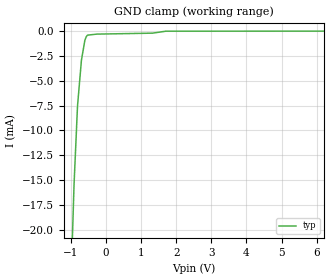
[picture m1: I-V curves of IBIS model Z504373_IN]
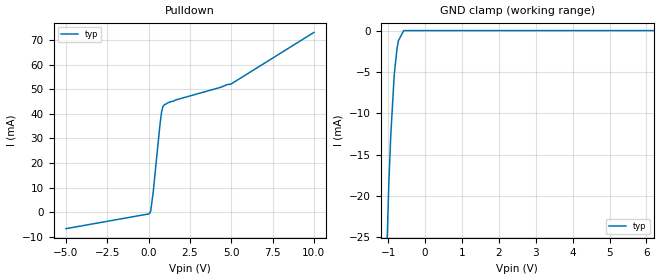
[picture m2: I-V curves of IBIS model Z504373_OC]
| YOU ARE ONLY AUTHORIZED TO USE THIS SOFTWARE
| ACCORDING TO LICENSOR'S LICENSE RESTRICTIONS.
[IBIS Ver] 3.1
[File Name] sn54ls12j.ibs
[File Rev] 2.0
[Source] Measured and created by ICX Technology
[Date] Friday 7/14/00 9:08:13 AM
[Copyright]
| (C) COPYRIGHT 1993-2000
| MENTOR GRAPHICS CORPORATION
| ICX STANDARD LIBRARY, ICX PROJECT MODELING,
| ICX CUSTOM MODELING, ICX VENDOR MODEL
| ALL RIGHTS RESERVED.
| THE FOLLOWING ARE TRADEMARKS OR SERVICE MARKS OF
| MENTOR GRAPHICS CORPORATION:ICX (R), ICX STANDARD
| LIBRARY(R), ICX PROJECT MODELING(R), ICX CUSTOM
| MODELING(R), qualityIBIS(TM), MODELVIEWER(TM),
| AND MODELEDITOR(TM)
| ALL COPIES OF SOFTWARE, INCLUDING BUT NOT LIMITED TO
| ANY MODIFICATIONS, ENHANCEMENTS OR DERIVATIVE WORKS,
| MUST CONTAIN ALL MENTOR GRAPHICS CORPORATION'S
| NOTICES AND LEGENDS, INCLUDING THOSE EMBEDDED IN
| SOFTWARE AND THOSE AFFIXED TO SOFTWARE MEDIUM
| AND CONTAINER, AS RECEIVED FROM MENTOR GRAPHICS
| CORPORATION.
|  ZAP Model Builder 2.7
[Component] SN54LS12J
[Manufacturer] OnSemiconductor
[Package]
| variable   typ   min   max
R_pkg  .21ohms NA NA
L_pkg  4.543nH NA NA
C_pkg  1.8pF NA NA
[Pin] signal_name  model_name  R_pin  L_pin C_pin
1 A Z504373_IN .22 6.757n 2.434p
2 B Z504373_IN .212 4.757n 1.941p
3 A Z504373_IN .204 3.257n 1.448p
4 B Z504373_IN .196 2.257n .955p
5 C Z504373_IN .204 3.257n 1.448p
6 Y Z504373_OC .212 4.757n 1.941p
7 GND GND .22 6.757n 2.434p
8 Y Z504373_OC .22 6.757n 2.434p
9 A Z504373_IN .212 4.757n 1.941p
10 B Z504373_IN .204 3.257n 1.448p
11 C Z504373_IN .196 2.257n .955p
12 Y Z504373_OC .204 3.257n 1.448p
13 C Z504373_IN .212 4.757n 1.941p
14 VCC POWER .22 6.757n 2.434p
| Models and submodels in the file (2): Z504373_IN (Input), Z504373_OC (Open_sink)
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| (C) COPYRIGHT 1993-2000
| MENTOR GRAPHICS CORPORATION
| ICX STANDARD LIBRARY, ICX PROJECT MODELING,
| ICX CUSTOM MODELING, ICX VENDOR MODEL
| ALL RIGHTS RESERVED.
| THE FOLLOWING ARE TRADEMARKS OR SERVICE MARKS OF
| MENTOR GRAPHICS CORPORATION:ICX (R), ICX STANDARD
| LIBRARY(R), ICX PROJECT MODELING(R), ICX CUSTOM
| MODELING(R), qualityIBIS(TM), MODELVIEWER(TM),
| AND MODELEDITOR(TM)
| ALL COPIES OF SOFTWARE, INCLUDING BUT NOT LIMITED TO
| ANY MODIFICATIONS, ENHANCEMENTS OR DERIVATIVE WORKS,
| MUST CONTAIN ALL MENTOR GRAPHICS CORPORATION'S
| NOTICES AND LEGENDS, INCLUDING THOSE EMBEDDED IN
| SOFTWARE AND THOSE AFFIXED TO SOFTWARE MEDIUM
| AND CONTAINER, AS RECEIVED FROM MENTOR GRAPHICS
| CORPORATION.
| Model Application Version 1.89 2/18/99.
[Model] Z504373_IN
Model_type Input
Vinl = 800.0mV
Vinh = 2.000V
C_comp 4.000pF NA NA
| variable typ   min   max
[Voltage Range] 5.000V NA NA
[GND Clamp Reference] 0.000V NA NA
[POWER Clamp Reference] 5.000V NA NA
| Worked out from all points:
|   GND clamp passes 1 mA (typ) near -0.60 V on its own axis
[GND Clamp]
-5V       -484.8mA   NA         NA
-908.5mV  -15.42mA   NA         NA
-810.5mV  -7.568mA   NA         NA
-699mV    -2.94mA    NA         NA
-600.4mV  -914.9uA   NA         NA
-564.2mV  -585.3uA   NA         NA
-527.3mV  -405.4uA   NA         NA
-263.7mV  -300uA     NA         NA
1.328V    -202.5uA   NA         NA
1.704V    -6.266uA   NA         NA
10V       5.289uA    NA         NA
[POWER Clamp]
-5V       0A         NA         NA
10V       0A         NA         NA
| (C) COPYRIGHT 1993-2000
| MENTOR GRAPHICS CORPORATION
| ICX STANDARD LIBRARY, ICX PROJECT MODELING,
| ICX CUSTOM MODELING, ICX VENDOR MODEL
| ALL RIGHTS RESERVED.
| THE FOLLOWING ARE TRADEMARKS OR SERVICE MARKS OF
| MENTOR GRAPHICS CORPORATION:ICX (R), ICX STANDARD
| LIBRARY(R), ICX PROJECT MODELING(R), ICX CUSTOM
| MODELING(R), qualityIBIS(TM), MODELVIEWER(TM),
| AND MODELEDITOR(TM)
| ALL COPIES OF SOFTWARE, INCLUDING BUT NOT LIMITED TO
| ANY MODIFICATIONS, ENHANCEMENTS OR DERIVATIVE WORKS,
| MUST CONTAIN ALL MENTOR GRAPHICS CORPORATION'S
| NOTICES AND LEGENDS, INCLUDING THOSE EMBEDDED IN
| SOFTWARE AND THOSE AFFIXED TO SOFTWARE MEDIUM
| AND CONTAINER, AS RECEIVED FROM MENTOR GRAPHICS
| CORPORATION.
| Model Application Version 1.89 2/18/99.
[Model] Z504373_OC
Model_type Open_sink
Vref=5.000V
Rref=2.001kohms
Cref=15.00pF
Vmeas=1.300V
C_comp 8.000pF NA NA
| variable typ   min   max
[Voltage Range] 5.000V NA NA
[POWER Clamp Reference] 5.000V NA NA
[Pullup Reference] 5.000V NA NA
[Pulldown Reference] 0.000V NA NA
[GND Clamp Reference] 0.000V NA NA
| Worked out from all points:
|   slope of the pulldown table from 0 to 0.75 V, typ, clamps not added: 18.9 ohm
|   GND clamp passes 1 mA (typ) near -0.70 V on its own axis
[GND Clamp]
-5V       -837.8mA   NA         NA
-1.107V   -36.48mA   NA         NA
-986.1mV  -18.6mA    NA         NA
-932.6mV  -12.63mA   NA         NA
-839.8mV  -5.397mA   NA         NA
-765.8mV  -2.234mA   NA         NA
-727.4mV  -1.234mA   NA         NA
-581.9mV  0A         NA         NA
10V       0A         NA         NA
[Pulldown]
-5V       -6.682mA   NA         NA
68.4mV    -471.3uA   NA         NA
131.7mV   586.7uA    NA         NA
278.4mV   8.203mA    NA         NA
687.3mV   35.61mA    NA         NA
781.8mV   40.59mA    NA         NA
859.4mV   42.77mA    NA         NA
898.1mV   43.27mA    NA         NA
1.139V    44.38mA    NA         NA
1.616V    45.56mA    NA         NA
4.976V    52.04mA    NA         NA
10V       73.06mA    NA         NA
[POWER Clamp]
-5V       0A         NA         NA
10V       0A         NA         NA
[Ramp]
| variable typ min max
dV/dt_r 2.743/15.33n NA NA
dV/dt_f 2.743/5.265n NA NA
R_load = 250.0Ohms
